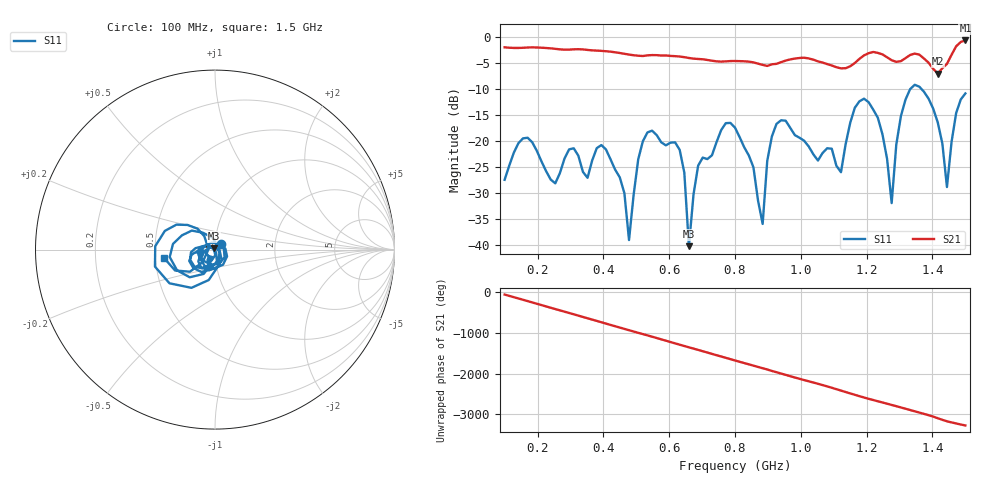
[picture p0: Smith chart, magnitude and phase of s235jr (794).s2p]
! NanoVNA-App
! Date: 2025-09-25 15:10:21
! Start: 100MHz Stop: 1,5GHz Points: 101
! S-Parameter data: F S11 S21 S12 S22
# Hz S RI R 50
!  Frequency  S11_Real  S11_Imag  S21_Real  S21_Imag  S12_Real  S12_Imag  S22_Real  S22_Imag
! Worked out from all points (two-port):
!   101 points, 100 MHz to 1.5 GHz, reference 50 ohm
!   highest |S21| = -0.64 dB at 1.5 GHz (marker M1); lowest = -7.0 dB at 1.416 GHz (marker M2)
!   |S21| within 3 dB of the highest: start of sweep to 610.8 MHz; 1.189 GHz to 1.256 GHz (66.71 MHz wide, 5.46 % of centre) (the widest 2 of 4)
!   lowest |S11| = -40.2 dB at 660 MHz (marker M3), VSWR 1.02, Z = 49.3 + j0.648 ohm
!   |S11| at or under -10 dB: start of sweep to 1.332 GHz; 1.367 GHz to end of sweep
!   S12 and S22 are empty: the file has one direction only
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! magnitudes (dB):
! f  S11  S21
! 100 MHz  -27.5  -2.0
! 170 MHz  -19.4  -2.0
! 338 MHz  -26.0  -2.4
! 408 MHz  -21.6  -2.7
! 478 MHz  -39.1  -3.4
! 520 MHz  -20.1  -3.6
! 576 MHz  -20.3  -3.5
! 632 MHz  -21.7  -3.7
! 660 MHz  -40.2  -4.0
! 688 MHz  -24.7  -4.2
! 800 MHz  -17.4  -4.6
! 884 MHz  -36.0  -5.4
! 926 MHz  -16.7  -5.1
! 1.038 GHz  -22.6  -4.3
! 1.122 GHz  -26.0  -6.0
! 1.192 GHz  -11.8  -3.5
! 1.248 GHz  -18.7  -3.3
! 1.276 GHz  -32.0  -4.5
! 1.332 GHz  -10.0  -3.4
! 1.416 GHz  -16.4  -7.0
! 1.444 GHz  -28.9  -5.2
! 1.5 GHz  -10.8  -0.6
